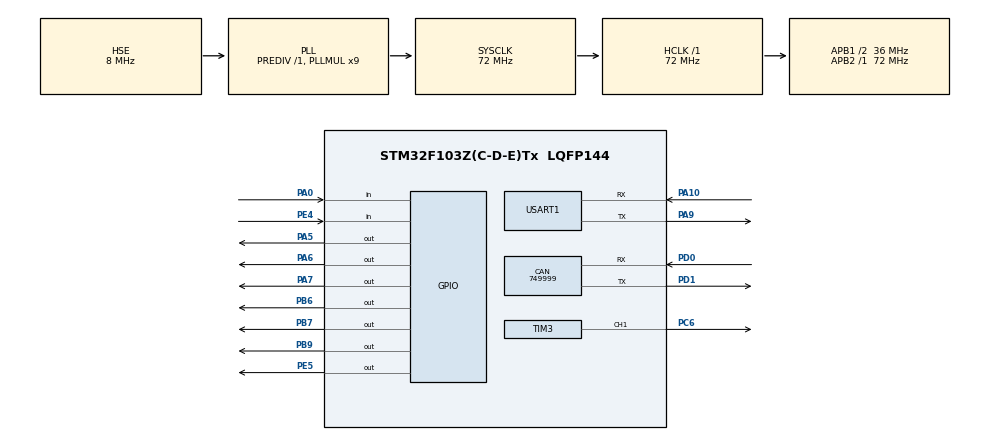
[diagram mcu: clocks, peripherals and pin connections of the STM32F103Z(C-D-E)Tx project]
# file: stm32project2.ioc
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CAN.BS1=CAN_BS1_1TQ
CAN.BS2=CAN_BS2_1TQ
CAN.CalculateBaudRate=749999
CAN.CalculateTimeBit=1333
CAN.CalculateTimeQuantum=444.44444444444446
FREERTOS.Tasks01=motor_move,40,256,StartDefaultTask,Default,NULL,Dynamic,NULL,NULL;motor_dir,32,256,StartTask02,Default,NULL,Dynamic,NULL,NULL
FREERTOS.configUSE_NEWLIB_REENTRANT=1
Mcu.Family=STM32F1
Mcu.Name=STM32F103Z(C-D-E)Tx
Mcu.Package=LQFP144
NVIC.PriorityGroup=NVIC_PRIORITYGROUP_4
NVIC.TIM2_IRQn=true\:15\:0\:false\:false\:true\:false\:false\:true\:true
NVIC.TimeBase=TIM2_IRQn
NVIC.TimeBaseIP=TIM2
NVIC.USART1_IRQn=true\:5\:0\:false\:false\:true\:true\:true\:true\:true
NVIC.USB_LP_CAN1_RX0_IRQn=true\:5\:0\:false\:false\:true\:true\:true\:true\:true
OSC_IN.Mode=HSE-External-Oscillator
OSC_IN.Signal=RCC_OSC_IN
OSC_OUT.Mode=HSE-External-Oscillator
OSC_OUT.Signal=RCC_OSC_OUT
PA0-WKUP.GPIO_PuPd=GPIO_PULLDOWN
PA0-WKUP.Signal=GPIO_Input
PA10.Mode=Asynchronous
PA10.Signal=USART1_RX
PA13.Mode=Serial_Wire
PA13.Signal=SYS_JTMS-SWDIO
PA14.Mode=Serial_Wire
PA14.Signal=SYS_JTCK-SWCLK
PA5.GPIO_ModeDefaultOutputPP=GPIO_MODE_OUTPUT_OD
PA5.GPIO_PuPd=GPIO_NOPULL
PA5.GPIO_Speed=GPIO_SPEED_FREQ_LOW
PA5.PinState=GPIO_PIN_RESET
PA5.Signal=GPIO_Output
PA6.GPIO_ModeDefaultOutputPP=GPIO_MODE_OUTPUT_OD
PA6.GPIO_PuPd=GPIO_NOPULL
PA6.GPIO_Speed=GPIO_SPEED_FREQ_LOW
PA6.PinState=GPIO_PIN_RESET
PA6.Signal=GPIO_Output
PA7.GPIO_PuPd=GPIO_PULLUP
PA7.GPIO_Speed=GPIO_SPEED_FREQ_HIGH
PA7.PinState=GPIO_PIN_RESET
PA7.Signal=GPIO_Output
PA9.Mode=Asynchronous
PA9.Signal=USART1_TX
PB6.GPIO_ModeDefaultOutputPP=GPIO_MODE_OUTPUT_OD
PB6.GPIO_PuPd=GPIO_PULLUP
PB6.GPIO_Speed=GPIO_SPEED_FREQ_HIGH
PB6.PinState=GPIO_PIN_RESET
PB6.Signal=GPIO_Output
PB7.GPIO_ModeDefaultOutputPP=GPIO_MODE_OUTPUT_OD
PB7.GPIO_PuPd=GPIO_PULLUP
PB7.GPIO_Speed=GPIO_SPEED_FREQ_HIGH
PB7.PinState=GPIO_PIN_RESET
PB7.Signal=GPIO_Output
PB9.GPIO_ModeDefaultOutputPP=GPIO_MODE_OUTPUT_PP
PB9.GPIO_PuPd=GPIO_PULLUP
PB9.GPIO_Speed=GPIO_SPEED_FREQ_HIGH
PB9.PinState=GPIO_PIN_SET
PB9.Signal=GPIO_Output
PC14-OSC32_IN.Mode=LSE-External-Oscillator
PC14-OSC32_IN.Signal=RCC_OSC32_IN
PC15-OSC32_OUT.Mode=LSE-External-Oscillator
PC15-OSC32_OUT.Signal=RCC_OSC32_OUT
PC6.Signal=S_TIM3_CH1
PD0.Mode=CAN_Activate
PD0.Signal=CAN_RX
PD1.Mode=CAN_Activate
PD1.Signal=CAN_TX
PE4.GPIO_PuPd=GPIO_PULLUP
PE4.Signal=GPIO_Input
PE5.GPIO_PuPd=GPIO_PULLUP
PE5.GPIO_Speed=GPIO_SPEED_FREQ_HIGH
PE5.PinState=GPIO_PIN_SET
PE5.Signal=GPIO_Output
ProjectManager.HeapSize=0x400
ProjectManager.StackSize=0x400
ProjectManager.TargetToolchain=STM32CubeIDE
RCC.ADCPresc=RCC_ADCPCLK2_DIV6
RCC.AHBFreq_Value=72000000
RCC.APB1CLKDivider=RCC_HCLK_DIV2
RCC.APB1Freq_Value=36000000
RCC.APB1TimFreq_Value=72000000
RCC.APB2Freq_Value=72000000
RCC.APB2TimFreq_Value=72000000
RCC.HCLKFreq_Value=72000000
RCC.HSICalibrationValue=16
RCC.PLLMUL=RCC_PLL_MUL9
RCC.PLLSourceVirtual=RCC_PLLSOURCE_HSE
RCC.RTCClockSelection=RCC_RTCCLKSOURCE_LSE
RCC.SYSCLKFreq_VALUE=72000000
RCC.SYSCLKSource=RCC_SYSCLKSOURCE_PLLCLK
RCC.USBFreq_Value=72000000
SH.S_TIM3_CH1.0=TIM3_CH1,PWM Generation1 CH1
TIM3.Channel-PWM\ Generation1\ CH1=TIM_CHANNEL_1
TIM3.Period=109
TIM3.Prescaler=71
TIM4.Prescaler=71
USART1.VirtualMode=VM_ASYNC
VP_FREERTOS_VS_CMSIS_V2.Mode=CMSIS_V2
VP_SYS_VS_tim2.Mode=TIM2
VP_TIM3_VS_ClockSourceINT.Mode=Internal
VP_TIM4_VS_ClockSourceINT.Mode=Internal
board=custom

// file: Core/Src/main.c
/* USER CODE BEGIN Header */
/**
  ******************************************************************************
  * @file           : main.c
  * @brief          : Main program body
  ******************************************************************************
  * @attention
  *
  * Copyright (c) 2025 STMicroelectronics.
  * All rights reserved.
  *
  * This software is licensed under terms that can be found in the LICENSE file
  * in the root directory of this software component.
  * If no LICENSE file comes with this software, it is provided AS-IS.
  *
  ******************************************************************************
  */
/* USER CODE END Header */
#include "main.h"
#include "cmsis_os.h"
#include "can.h"
#include "tim.h"
#include "usart.h"
#include "gpio.h"

/* USER CODE BEGIN Includes */
#include "i2c.h"
/* USER CODE END Includes */

void SystemClock_Config(void);
void MX_FREERTOS_Init(void);

int main(void)
{

  /* MCU Configuration--------------------------------------------------------*/

  /* Reset of all peripherals, Initializes the Flash interface and the Systick. */
  HAL_Init();

  /* Configure the system clock */
  SystemClock_Config();

  /* Initialize all configured peripherals */
  MX_GPIO_Init();
  MX_CAN_Init();
  MX_TIM4_Init();
  MX_USART1_UART_Init();
  MX_TIM3_Init();
  /* USER CODE BEGIN 2 */
  i2c_end();

  /* USER CODE END 2 */

  /* Init scheduler */
  osKernelInitialize();

  /* Call init function for freertos objects (in cmsis_os2.c) */
  MX_FREERTOS_Init();

  /* Start scheduler */
  osKernelStart();

  /* We should never get here as control is now taken by the scheduler */

  /* Infinite loop */
  while (1)
  {

  }
}

void SystemClock_Config(void)
{
  RCC_OscInitTypeDef RCC_OscInitStruct = {0};
  RCC_ClkInitTypeDef RCC_ClkInitStruct = {0};

  /** Initializes the RCC Oscillators according to the specified parameters
  * in the RCC_OscInitTypeDef structure.
  */
  RCC_OscInitStruct.OscillatorType = RCC_OSCILLATORTYPE_HSE;
  RCC_OscInitStruct.HSEState = RCC_HSE_ON;
  RCC_OscInitStruct.HSEPredivValue = RCC_HSE_PREDIV_DIV1;
  RCC_OscInitStruct.HSIState = RCC_HSI_ON;
  RCC_OscInitStruct.PLL.PLLState = RCC_PLL_ON;
  RCC_OscInitStruct.PLL.PLLSource = RCC_PLLSOURCE_HSE;
  RCC_OscInitStruct.PLL.PLLMUL = RCC_PLL_MUL9;
  if (HAL_RCC_OscConfig(&RCC_OscInitStruct) != HAL_OK)
  {
    Error_Handler();
  }

  /** Initializes the CPU, AHB and APB buses clocks
  */
  RCC_ClkInitStruct.ClockType = RCC_CLOCKTYPE_HCLK|RCC_CLOCKTYPE_SYSCLK
                              |RCC_CLOCKTYPE_PCLK1|RCC_CLOCKTYPE_PCLK2;
  RCC_ClkInitStruct.SYSCLKSource = RCC_SYSCLKSOURCE_PLLCLK;
  RCC_ClkInitStruct.AHBCLKDivider = RCC_SYSCLK_DIV1;
  RCC_ClkInitStruct.APB1CLKDivider = RCC_HCLK_DIV2;
  RCC_ClkInitStruct.APB2CLKDivider = RCC_HCLK_DIV1;

  if (HAL_RCC_ClockConfig(&RCC_ClkInitStruct, FLASH_LATENCY_2) != HAL_OK)
  {
    Error_Handler();
  }
}

void HAL_TIM_PeriodElapsedCallback(TIM_HandleTypeDef *htim)
{
  if (htim->Instance == TIM2) {
    HAL_IncTick();
  }
}

void Error_Handler(void)
{
  __disable_irq();
  while (1)
  {
  }
}

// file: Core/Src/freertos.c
/* USER CODE BEGIN Header */
/**
  ******************************************************************************
  * File Name          : freertos.c
  * Description        : Code for freertos applications
  ******************************************************************************
  * @attention
  *
  * Copyright (c) 2025 STMicroelectronics.
  * All rights reserved.
  *
  * This software is licensed under terms that can be found in the LICENSE file
  * in the root directory of this software component.
  * If no LICENSE file comes with this software, it is provided AS-IS.
  *
  ******************************************************************************
  */
/* USER CODE END Header */

#include "FreeRTOS.h"
#include "task.h"
#include "main.h"
#include "cmsis_os.h"

/* USER CODE BEGIN Includes */
#include "gpio.h"
#include "i2c.h"
#include "tim.h"
/* USER CODE END Includes */

/* USER CODE BEGIN PTD */
uint8_t flag=1;
uint8_t flag_key=1;

/* USER CODE END PTD */

/* Definitions for motor_move */
osThreadId_t motor_moveHandle;
const osThreadAttr_t motor_move_attributes = {
  .name = "motor_move",
  .stack_size = 256 * 4,
  .priority = (osPriority_t) osPriorityHigh,
};
/* Definitions for motor_dir */
osThreadId_t motor_dirHandle;
const osThreadAttr_t motor_dir_attributes = {
  .name = "motor_dir",
  .stack_size = 256 * 4,
  .priority = (osPriority_t) osPriorityAboveNormal,
};

/* USER CODE BEGIN FunctionPrototypes */
void stepper_turn(uint8_t dir);
void stepper_stop(void);
void judge_pulse(void);
void BlinkLEDs(void);
/* USER CODE END FunctionPrototypes */

void StartDefaultTask(void *argument);
void StartTask02(void *argument);

void MX_FREERTOS_Init(void); /* (MISRA C 2004 rule 8.1) */

void MX_FREERTOS_Init(void) {

  /* Create the thread(s) */
  /* creation of motor_move */
  motor_moveHandle = osThreadNew(StartDefaultTask, NULL, &motor_move_attributes);

  /* creation of motor_dir */
  motor_dirHandle = osThreadNew(StartTask02, NULL, &motor_dir_attributes);

}

void StartDefaultTask(void *argument)
{
  /* USER CODE BEGIN StartDefaultTask */
  /* Infinite loop */

  for(;;) {
    if(HAL_GPIO_ReadPin(GPIOA, GPIO_PIN_0) == GPIO_PIN_SET) {
      osDelay(10);
      flag = 0;
    }

    if(flag == 0 && flag_key == 1) {
      if(HAL_GPIO_ReadPin(GPIOA, GPIO_PIN_0) == GPIO_PIN_RESET) {
        stepper_turn(CW);
      }
      flag = 1;
    }
    /////////////////////////////////////////////////////////////////////
    if(HAL_GPIO_ReadPin(GPIOE, GPIO_PIN_4) == GPIO_PIN_RESET) {
      osDelay(10);
      flag_key = 0;
    }

    if(flag_key == 0 && flag == 1) {
      if(HAL_GPIO_ReadPin(GPIOE, GPIO_PIN_4) == GPIO_PIN_SET) {
        stepper_turn(CCW);
      }
      flag_key = 1;
    }
  }
  /* USER CODE END StartDefaultTask */
}

void StartTask02(void *argument)
{
  /* USER CODE BEGIN StartTask02 */
	/* Infinite loop */
	for(;;) {
		osDelay(10);
	}
  /* USER CODE END StartTask02 */
}

/* USER CODE BEGIN Application */

void stepper_turn(uint8_t dir)
{
  if(dir==CW)        //顺时针
  {
    HAL_GPIO_WritePin(MOTOR_DIR_GPIO_PORT,MOTOR_DIR_PIN,HIGH);
  }
  else if(dir==CCW)//逆时针
  {
    HAL_GPIO_WritePin(MOTOR_DIR_GPIO_PORT,MOTOR_DIR_PIN,LOW);
  }
  /*开使能*/
  HAL_GPIO_WritePin(MOTOR_EN_GPIO_PORT,MOTOR_EN_PIN,GPIO_PIN_SET);
}

void stepper_stop(void) {
  HAL_TIM_PWM_Stop(&htim3,TIM_CHANNEL_1);
  HAL_GPIO_WritePin(MOTOR_EN_GPIO_PORT,MOTOR_EN_PIN,GPIO_PIN_RESET);
}

void BlinkLEDs(void) {
  HAL_GPIO_TogglePin(GPIOE, GPIO_PIN_5);
  HAL_GPIO_TogglePin(GPIOB, GPIO_PIN_9);
  osDelay(100);
  HAL_GPIO_TogglePin(GPIOE, GPIO_PIN_5);
  HAL_GPIO_TogglePin(GPIOB, GPIO_PIN_9);
  osDelay(300);
  HAL_GPIO_TogglePin(GPIOE, GPIO_PIN_5);
  HAL_GPIO_TogglePin(GPIOB, GPIO_PIN_9);
  osDelay(100);
  HAL_GPIO_TogglePin(GPIOE, GPIO_PIN_5);
  HAL_GPIO_TogglePin(GPIOB, GPIO_PIN_9);
  osDelay(300);
}
/* USER CODE END Application */
